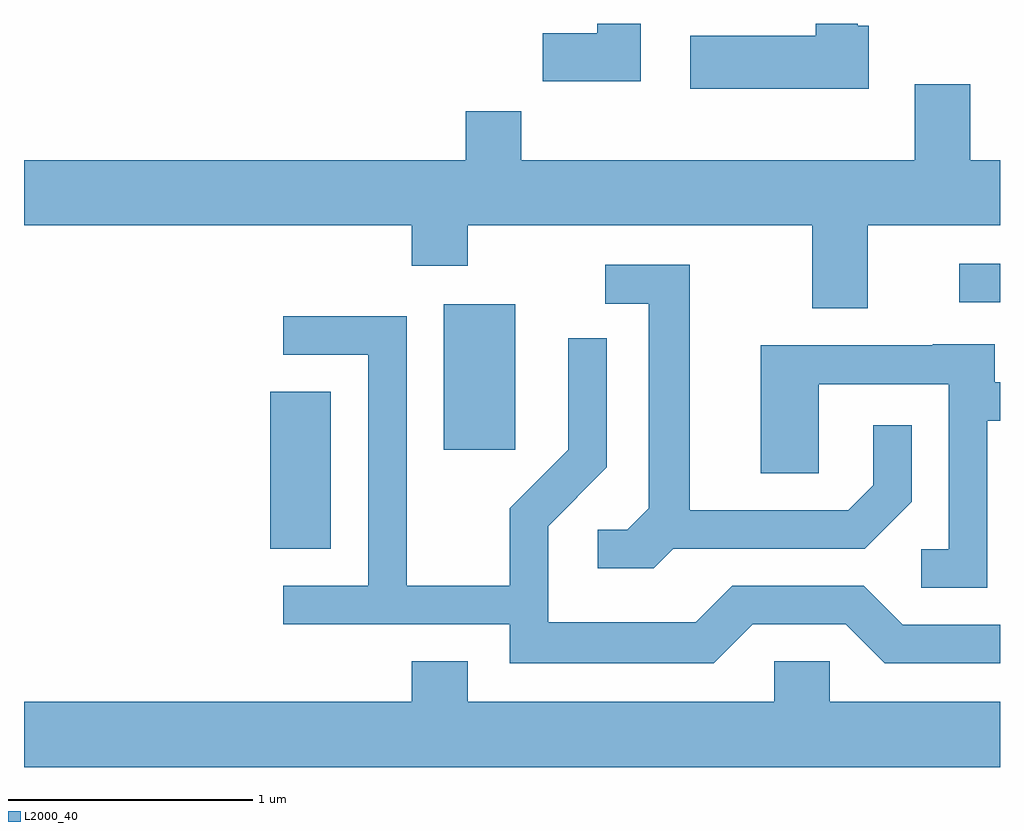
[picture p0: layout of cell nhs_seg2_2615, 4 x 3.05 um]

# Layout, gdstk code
import gdstk
lib = gdstk.Library(unit=1e-6, precision=1e-09)
def R(c, l, rs):  # rectangles x0, y0, x1, y1
    for r in rs: c.add(gdstk.rectangle(r[:2], r[2:], *l))
def P(c, l, *ps):  # polygons
    for p in ps: c.add(gdstk.Polygon(p, *l))
L2000_40 = (2000, 40)

nhs_seg2_2615 = lib.new_cell('nhs_seg2_2615')
R(nhs_seg2_2615, L2000_40, [(262.621,1053.651,262.869,1054.294), (263.331,1054.056,263.624,1054.654), (265.443,1054.661,265.611,1054.819)])
P(nhs_seg2_2615, L2000_40, [(264.139,1055.802),(263.961,1055.802),(263.961,1055.764),(263.736,1055.764),(263.736,1055.566),(264.139,1055.566)],
  [(265.074,1055.794),(265.029,1055.794),(265.029,1055.802),(264.856,1055.802),(264.856,1055.754),(264.341,1055.754),(264.341,1055.536),(265.074,1055.536)],
  [(265.069,1054.976),(265.611,1054.976),(265.611,1055.244),(265.489,1055.244),(265.489,1055.554),(265.261,1055.554),(265.261,1055.244),(263.649,1055.244),(263.649,1055.444),(263.421,1055.444),(263.421,1055.244),(261.611,1055.244),(261.611,1054.976),(263.201,1054.976),(263.201,1054.811),(263.429,1054.811),(263.429,1054.976),(264.841,1054.976),(264.841,1054.636),(265.069,1054.636)],
  [(264.272,1053.651),(265.057,1053.651),(265.249,1053.844),(265.249,1054.158),(265.091,1054.158),(265.091,1053.912),(264.989,1053.809),(264.339,1053.809),(264.339,1054.814),(263.993,1054.814),(263.993,1054.656),(264.171,1054.656),(264.171,1053.817),(264.084,1053.729),(263.963,1053.729),(263.963,1053.571),(264.192,1053.571)],
  [(264.597,1053.341),(264.979,1053.341),(265.139,1053.181),(265.611,1053.181),(265.611,1053.339),(265.212,1053.339),(265.052,1053.499),(264.514,1053.499),(264.364,1053.349),(263.759,1053.349),(263.759,1053.744),(263.999,1053.984),(263.999,1054.513),(263.841,1054.513),(263.841,1054.057),(263.601,1053.817),(263.601,1053.499),(263.179,1053.499),(263.179,1054.604),(262.673,1054.604),(262.673,1054.446),(263.021,1054.446),(263.021,1053.499),(262.673,1053.499),(262.673,1053.341),(263.601,1053.341),(263.601,1053.181),(264.437,1053.181)],
  [(265.559,1054.176),(265.611,1054.176),(265.611,1054.334),(265.589,1054.334),(265.589,1054.489),(265.335,1054.489),(265.335,1054.484),(264.631,1054.484),(264.631,1053.961),(264.869,1053.961),(264.869,1054.326),(265.401,1054.326),(265.401,1053.649),(265.288,1053.649),(265.288,1053.491),(265.559,1053.491)],
  [(265.611,1053.024),(264.914,1053.024),(264.914,1053.189),(264.686,1053.189),(264.686,1053.024),(263.429,1053.024),(263.429,1053.189),(263.201,1053.189),(263.201,1053.024),(261.611,1053.024),(261.611,1052.756),(265.611,1052.756)])

lib.write_gds('nhs_seg2_2615.gds')
